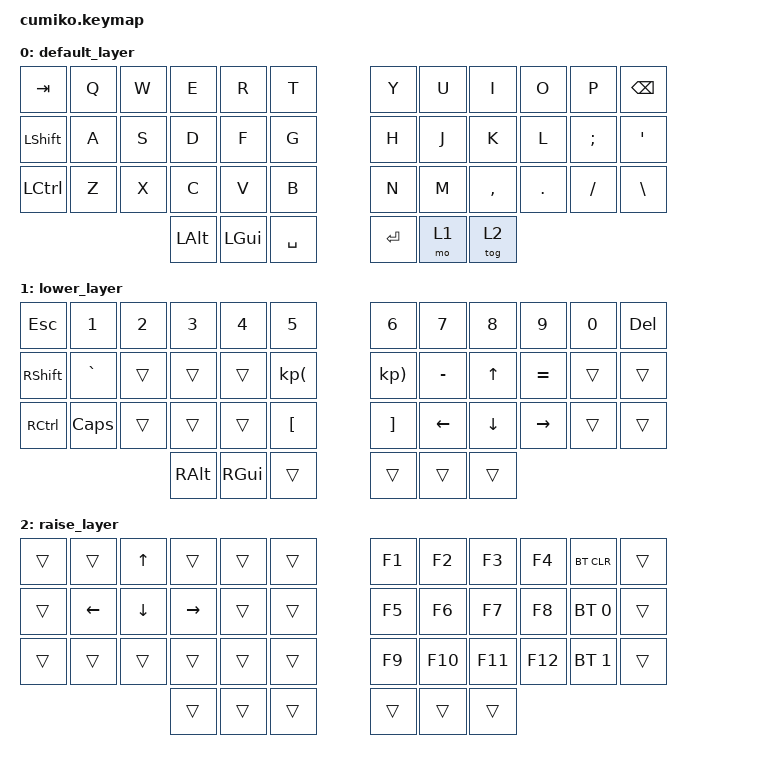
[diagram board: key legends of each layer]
#include <behaviors.dtsi>
#include <dt-bindings/zmk/keys.h>
#include <dt-bindings/zmk/bt.h>

/ {
	keymap {
		compatible = "zmk,keymap";

		default_layer {
// ---------------------------------------------------------------------------------------------------------------
// |  TAB  |  Q  |  W  |   E   |   R   |   T   |                   |   Y   |   U   |   I   |   O   |   P   |  BSPC |
// | SHIFT |  A  |  S  |   D   |   F   |   G   |                   |   H   |   J   |   K   |   L   |   ;   |   '   |
// |  CTL  |  Z  |  X  |   C   |   V   |   B   |                   |   N   |   M   |   ,   |   .   |   /   |   \   |
//                     |  ALT  |  LGUI | SPACE |                   | ENTER | LOWER | RAISE |
			bindings = <
&kp TAB   &kp Q  &kp W  &kp E     &kp R     &kp T                    &kp Y     &kp U  &kp I     &kp O   &kp P    &kp BSPC
&kp LSHFT &kp A  &kp S  &kp D     &kp F     &kp G                    &kp H     &kp J  &kp K     &kp L   &kp SEMI &kp SQT
&kp LCTRL &kp Z  &kp X  &kp C     &kp V     &kp B                    &kp N     &kp M  &kp COMMA &kp DOT &kp FSLH &kp BSLH
                        &kp LALT  &kp LGUI  &kp SPACE                &kp ENTER &mo 1  &tog 2
			>;
		};

		lower_layer {
// ------------------------------------------------------------------------------------------------------------
// |  ESC  |  N1 |  N2 |  N3  |  N4  |  N5  |                   |  N6  |  N7  |  N8  |  N9  |  N0  |  DEL  |
// |       |  `  |     |      |      |  (   |                   |  )   |  -   |  UP  |  =   |      |       |
// |       |     |     |      |      |  [   |                   |  ]   |  LT  |  DN  |  RT  |      |       |
//                     |      |      |      |                   |      |      |      |
			bindings = <
&kp ESC   &kp N1    &kp N2  &kp N3   &kp N4   &kp N5            &kp N6      &kp N7    &kp N8   &kp N9    &kp N0 &kp DEL
&kp RSHFT &kp GRAVE &trans  &trans   &trans   &kp KP_LPAR       &kp KP_RPAR &kp MINUS &kp UP   &kp EQUAL &trans &trans
&kp RCTRL &kp CAPS  &trans  &trans   &trans   &kp LBKT          &kp RBKT    &kp LEFT  &kp DOWN &kp RIGHT &trans &trans
                        	&kp RALT &kp RGUI &trans            &trans      &trans    &trans
			>;
		};

		raise_layer {
// ------------------------------------------------------------------------------------------------------------
// |   `   |  1  |  2  |  3   |  4   |  5   |                   |  nm,   |   7   |   8   |  9   |   0   |       |
// |   F1  |  F2 |  F3 |  F4  |  F5  |  F6  |                   |      |   <-  |   ^   |  v   |  ->   |       |
// |   F7  |  F8 |  F9 |  F10 |  F11 |  F12 |                   |  +   |   -   |   =   |  [   |   ]   |   \   |
//                     |      |      |      |                   |      |       |       |
			bindings = <
&trans &trans   &kp UP   &trans    &trans &trans                &kp F1 &kp F2  &kp F3  &kp F4  &bt BT_CLR   &trans
&trans &kp LEFT &kp DOWN &kp RIGHT &trans &trans                &kp F5 &kp F6  &kp F7  &kp F8  &bt BT_SEL 0 &trans
&trans &trans   &trans   &trans    &trans &trans                &kp F9 &kp F10 &kp F11 &kp F12 &bt BT_SEL 1 &trans
                   	     &trans    &trans &trans                &trans &trans  &trans
			>;
		};
	};
};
